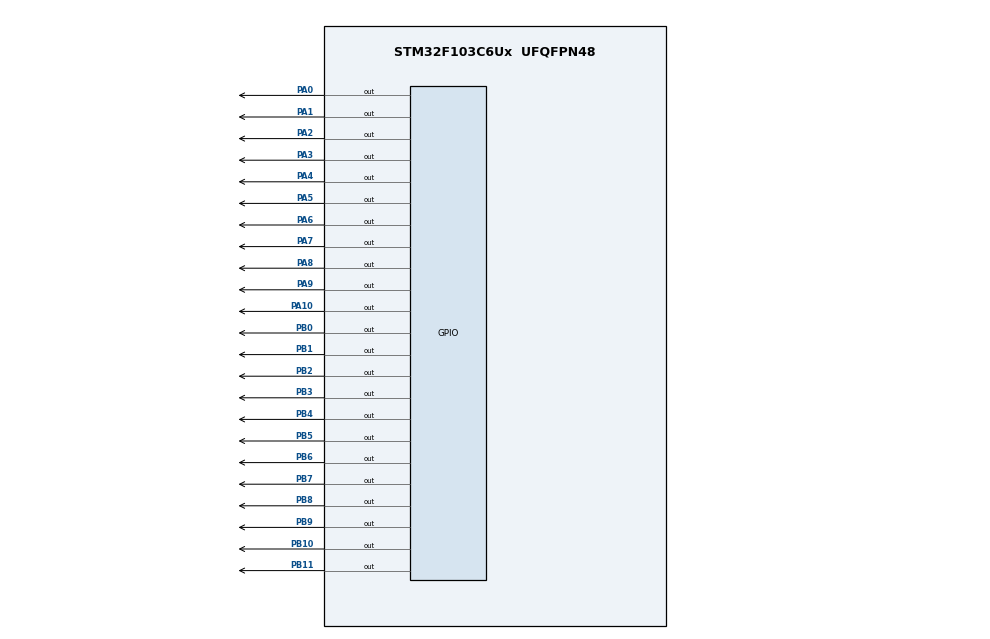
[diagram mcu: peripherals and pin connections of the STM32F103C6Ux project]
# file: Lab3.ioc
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Mcu.Family=STM32F1
Mcu.Name=STM32F103C6Ux
Mcu.Package=UFQFPN48
NVIC.PriorityGroup=NVIC_PRIORITYGROUP_4
NVIC.TIM2_IRQn=true\:0\:0\:false\:false\:true\:true\:true\:true
PA0-WKUP.Signal=GPIO_Output
PA1.Signal=GPIO_Output
PA10.Signal=GPIO_Output
PA2.Signal=GPIO_Output
PA3.Signal=GPIO_Output
PA4.Signal=GPIO_Output
PA5.Signal=GPIO_Output
PA6.Signal=GPIO_Output
PA7.Signal=GPIO_Output
PA8.Signal=GPIO_Output
PA9.Signal=GPIO_Output
PB0.Signal=GPIO_Output
PB1.Signal=GPIO_Output
PB10.Signal=GPIO_Output
PB11.Signal=GPIO_Output
PB2.Signal=GPIO_Output
PB3.Signal=GPIO_Output
PB4.Signal=GPIO_Output
PB5.Signal=GPIO_Output
PB6.Signal=GPIO_Output
PB7.Signal=GPIO_Output
PB8.Signal=GPIO_Output
PB9.Signal=GPIO_Output
ProjectManager.HeapSize=0x200
ProjectManager.StackSize=0x400
ProjectManager.TargetToolchain=CMake
RCC.APB1Freq_Value=8000000
RCC.APB2Freq_Value=8000000
TIM2.Period=9
TIM2.Prescaler=7999
VP_SYS_VS_ND.Mode=No_Debug
VP_TIM2_VS_ClockSourceINT.Mode=Internal
board=custom

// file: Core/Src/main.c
/* USER CODE BEGIN Header */
/**
 ******************************************************************************
 * @file           : main.c
 * @brief          : Main program body
 ******************************************************************************
 * @attention
 *
 * Copyright (c) 2026 STMicroelectronics.
 * All rights reserved.
 *
 * This software is licensed under terms that can be found in the LICENSE file
 * in the root directory of this software component.
 * If no LICENSE file comes with this software, it is provided AS-IS.
 *
 ******************************************************************************
 */
/* USER CODE END Header */
#include "main.h"
#include "software_timer.h"

/* USER CODE BEGIN Includes */
#include "button.h"
#include "fsm_automatic.h"
#include "fsm_manual.h"
#include "fsm_setting.h"
#include "global.h"
#include "led_7seg.h"
#include "schedular.h"
/* USER CODE END Includes */

TIM_HandleTypeDef htim2;

void SystemClock_Config(void);
static void MX_GPIO_Init(void);
static void MX_TIM2_Init(void);

int main(void) {

  /* MCU Configuration--------------------------------------------------------*/

  /* Reset of all peripherals, Initializes the Flash interface and the Systick.
   */
  HAL_Init();

  /* Configure the system clock */
  SystemClock_Config();

  /* Initialize all configured peripherals */
  MX_GPIO_Init();
  MX_TIM2_Init();
  /* USER CODE BEGIN 2 */
  SCH_Init();
  SCH_Add_Task(timerRun, 0, 1);
  SCH_Add_Task(button_reading, 0, 1);
  SCH_Add_Task(fsm_automatic_run, 0, 1);
  SCH_Add_Task(fsm_manual_run, 0, 1);
  SCH_Add_Task(fsm_setting_run, 0, 1);
  SCH_Add_Task(led_7seg_run, 0, 1);
  HAL_TIM_Base_Start_IT(&htim2);
  /* USER CODE END 2 */

  /* Infinite loop */
  while (1) {

    /* USER CODE BEGIN 3 */
    SCH_Dispatch_Tasks();
  }
  /* USER CODE END 3 */
}

void SystemClock_Config(void) {
  RCC_OscInitTypeDef RCC_OscInitStruct = {0};
  RCC_ClkInitTypeDef RCC_ClkInitStruct = {0};

  /** Initializes the RCC Oscillators according to the specified parameters
   * in the RCC_OscInitTypeDef structure.
   */
  RCC_OscInitStruct.OscillatorType = RCC_OSCILLATORTYPE_HSI;
  RCC_OscInitStruct.HSIState = RCC_HSI_ON;
  RCC_OscInitStruct.HSICalibrationValue = RCC_HSICALIBRATION_DEFAULT;
  RCC_OscInitStruct.PLL.PLLState = RCC_PLL_NONE;
  if (HAL_RCC_OscConfig(&RCC_OscInitStruct) != HAL_OK) {
    Error_Handler();
  }

  /** Initializes the CPU, AHB and APB buses clocks
   */
  RCC_ClkInitStruct.ClockType = RCC_CLOCKTYPE_HCLK | RCC_CLOCKTYPE_SYSCLK |
                                RCC_CLOCKTYPE_PCLK1 | RCC_CLOCKTYPE_PCLK2;
  RCC_ClkInitStruct.SYSCLKSource = RCC_SYSCLKSOURCE_HSI;
  RCC_ClkInitStruct.AHBCLKDivider = RCC_SYSCLK_DIV1;
  RCC_ClkInitStruct.APB1CLKDivider = RCC_HCLK_DIV1;
  RCC_ClkInitStruct.APB2CLKDivider = RCC_HCLK_DIV1;

  if (HAL_RCC_ClockConfig(&RCC_ClkInitStruct, FLASH_LATENCY_0) != HAL_OK) {
    Error_Handler();
  }
}

static void MX_TIM2_Init(void) {

  TIM_ClockConfigTypeDef sClockSourceConfig = {0};
  TIM_MasterConfigTypeDef sMasterConfig = {0};

  htim2.Instance = TIM2;
  htim2.Init.Prescaler = 7999;
  htim2.Init.CounterMode = TIM_COUNTERMODE_UP;
  htim2.Init.Period = 9;
  htim2.Init.ClockDivision = TIM_CLOCKDIVISION_DIV1;
  htim2.Init.AutoReloadPreload = TIM_AUTORELOAD_PRELOAD_DISABLE;
  if (HAL_TIM_Base_Init(&htim2) != HAL_OK) {
    Error_Handler();
  }
  sClockSourceConfig.ClockSource = TIM_CLOCKSOURCE_INTERNAL;
  if (HAL_TIM_ConfigClockSource(&htim2, &sClockSourceConfig) != HAL_OK) {
    Error_Handler();
  }
  sMasterConfig.MasterOutputTrigger = TIM_TRGO_RESET;
  sMasterConfig.MasterSlaveMode = TIM_MASTERSLAVEMODE_DISABLE;
  if (HAL_TIMEx_MasterConfigSynchronization(&htim2, &sMasterConfig) != HAL_OK) {
    Error_Handler();
  }
}

static void MX_GPIO_Init(void) {
  GPIO_InitTypeDef GPIO_InitStruct = {0};

  /* GPIO Ports Clock Enable */
  __HAL_RCC_GPIOA_CLK_ENABLE();
  __HAL_RCC_GPIOB_CLK_ENABLE();

  /*Configure GPIO pin Output Level */
  HAL_GPIO_WritePin(GPIOA,
                    GPIO_PIN_0 | GPIO_PIN_1 | GPIO_PIN_2 | GPIO_PIN_3 |
                        GPIO_PIN_4 | GPIO_PIN_5 | GPIO_PIN_6 | GPIO_PIN_7 |
                        GPIO_PIN_8 | GPIO_PIN_9 | GPIO_PIN_10,
                    GPIO_PIN_RESET);

  /*Configure GPIO pin Output Level */
  HAL_GPIO_WritePin(GPIOB,
                    GPIO_PIN_0 | GPIO_PIN_1 | GPIO_PIN_2 | GPIO_PIN_10 |
                        GPIO_PIN_11 | GPIO_PIN_3 | GPIO_PIN_4 | GPIO_PIN_5 |
                        GPIO_PIN_6 | GPIO_PIN_7 | GPIO_PIN_8 | GPIO_PIN_9,
                    GPIO_PIN_RESET);

  /*Configure GPIO pins : PA0 PA1 PA2 PA3
                           PA4 PA5 PA6 PA7
                           PA8 PA9 PA10 */
  GPIO_InitStruct.Pin = GPIO_PIN_0 | GPIO_PIN_1 | GPIO_PIN_2 | GPIO_PIN_3 |
                        GPIO_PIN_4 | GPIO_PIN_5 | GPIO_PIN_6 | GPIO_PIN_7 |
                        GPIO_PIN_8 | GPIO_PIN_9 | GPIO_PIN_10;
  GPIO_InitStruct.Mode = GPIO_MODE_OUTPUT_PP;
  GPIO_InitStruct.Pull = GPIO_NOPULL;
  GPIO_InitStruct.Speed = GPIO_SPEED_FREQ_LOW;
  HAL_GPIO_Init(GPIOA, &GPIO_InitStruct);

  /*Configure GPIO pins : PB0 PB1 PB2 PB10
                           PB11 PB3 PB4 PB5
                           PB6 PB7 PB8 PB9 */
  GPIO_InitStruct.Pin = GPIO_PIN_0 | GPIO_PIN_1 | GPIO_PIN_2 | GPIO_PIN_10 |
                        GPIO_PIN_11 | GPIO_PIN_3 | GPIO_PIN_4 | GPIO_PIN_5 |
                        GPIO_PIN_6 | GPIO_PIN_7 | GPIO_PIN_8 | GPIO_PIN_9;
  GPIO_InitStruct.Mode = GPIO_MODE_OUTPUT_PP;
  GPIO_InitStruct.Pull = GPIO_NOPULL;
  GPIO_InitStruct.Speed = GPIO_SPEED_FREQ_LOW;
  HAL_GPIO_Init(GPIOB, &GPIO_InitStruct);

  /* USER CODE BEGIN MX_GPIO_Init_2 */
  GPIO_InitStruct.Pin = BTN0_Pin | BTN1_Pin | BTN2_Pin;
  GPIO_InitStruct.Mode = GPIO_MODE_INPUT;
  GPIO_InitStruct.Pull = GPIO_PULLUP;
  HAL_GPIO_Init(GPIOA, &GPIO_InitStruct);
  /* USER CODE END MX_GPIO_Init_2 */
}

/* USER CODE BEGIN 4 */
void HAL_TIM_PeriodElapsedCallback(TIM_HandleTypeDef *htim) {
  if (htim->Instance == TIM2) {
    SCH_Update();
  }
}
/* USER CODE END 4 */

void Error_Handler(void) {
  __disable_irq();
  while (1) {
  }
}
#ifdef USE_FULL_ASSERT
/**
 * @brief  Reports the name of the source file and the source line number
 *         where the assert_param error has occurred.
 * @param  file: pointer to the source file name
 * @param  line: assert_param error line source number
 * @retval None
 */
void assert_failed(uint8_t *file, uint32_t line) {
  /* USER CODE BEGIN 6 */
  /* User can add his own implementation to report the file name and line
     number, ex: printf("Wrong parameters value: file %s on line %d\r\n", file,
     line) */
  /* USER CODE END 6 */
}
#endif /* USE_FULL_ASSERT */
